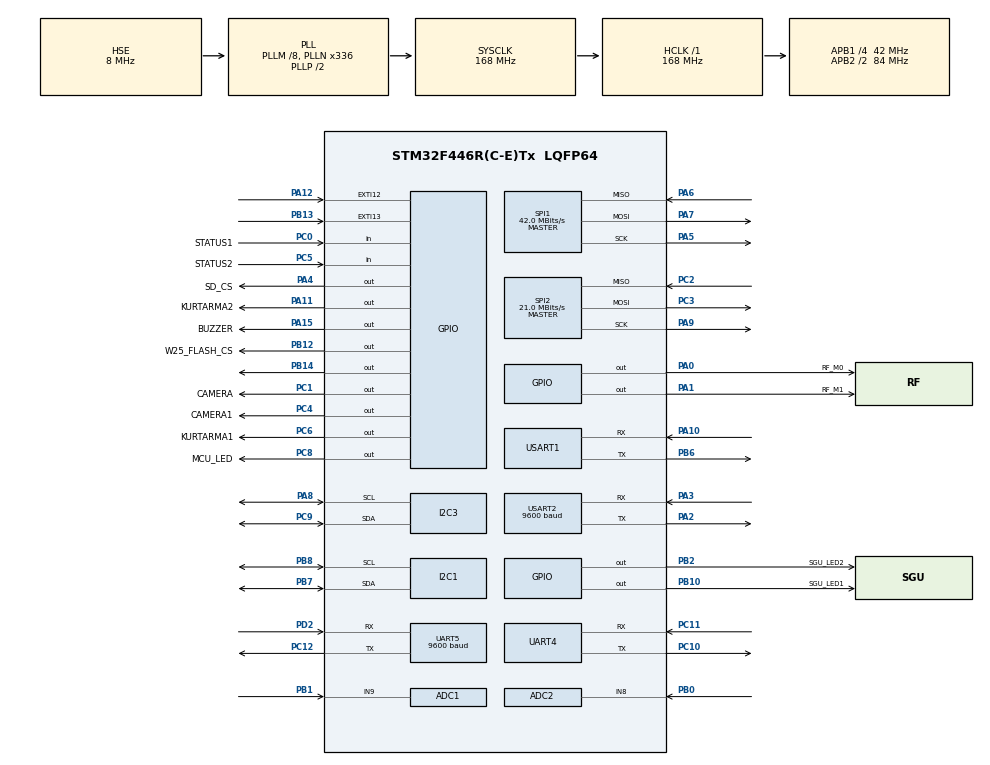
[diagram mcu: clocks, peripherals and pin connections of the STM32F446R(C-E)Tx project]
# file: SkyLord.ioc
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ADC1.Channel-0\#ChannelRegularConversion=ADC_CHANNEL_9
ADC1.ContinuousConvMode=ENABLE
ADC1.DMAContinuousRequests=DISABLE
ADC1.NbrOfConversion=1
ADC1.NbrOfConversionFlag=1
ADC1.Rank-0\#ChannelRegularConversion=1
ADC1.SamplingTime-0\#ChannelRegularConversion=ADC_SAMPLETIME_480CYCLES
ADC1.master=1
ADC2.Channel-1\#ChannelRegularConversion=ADC_CHANNEL_8
ADC2.ContinuousConvMode=ENABLE
ADC2.DMAContinuousRequests=DISABLE
ADC2.NbrOfConversionFlag=1
ADC2.Rank-1\#ChannelRegularConversion=1
ADC2.SamplingTime-1\#ChannelRegularConversion=ADC_SAMPLETIME_480CYCLES
Dma.I2C3_RX.4.Direction=DMA_PERIPH_TO_MEMORY
Dma.I2C3_RX.4.FIFOMode=DMA_FIFOMODE_DISABLE
Dma.I2C3_RX.4.Instance=DMA1_Stream1
Dma.I2C3_RX.4.MemDataAlignment=DMA_MDATAALIGN_BYTE
Dma.I2C3_RX.4.MemInc=DMA_MINC_ENABLE
Dma.I2C3_RX.4.Mode=DMA_NORMAL
Dma.I2C3_RX.4.PeriphDataAlignment=DMA_PDATAALIGN_BYTE
Dma.I2C3_RX.4.PeriphInc=DMA_PINC_DISABLE
Dma.I2C3_RX.4.Priority=DMA_PRIORITY_LOW
Dma.Request0=UART4_RX
Dma.Request1=UART4_TX
Dma.Request2=UART5_RX
Dma.Request3=USART2_TX
Dma.Request4=I2C3_RX
Dma.UART4_RX.0.Direction=DMA_PERIPH_TO_MEMORY
Dma.UART4_RX.0.FIFOMode=DMA_FIFOMODE_DISABLE
Dma.UART4_RX.0.Instance=DMA1_Stream2
Dma.UART4_RX.0.MemDataAlignment=DMA_MDATAALIGN_BYTE
Dma.UART4_RX.0.MemInc=DMA_MINC_ENABLE
Dma.UART4_RX.0.Mode=DMA_NORMAL
Dma.UART4_RX.0.PeriphDataAlignment=DMA_PDATAALIGN_BYTE
Dma.UART4_RX.0.PeriphInc=DMA_PINC_DISABLE
Dma.UART4_RX.0.Priority=DMA_PRIORITY_HIGH
Dma.UART4_TX.1.Direction=DMA_MEMORY_TO_PERIPH
Dma.UART4_TX.1.FIFOMode=DMA_FIFOMODE_DISABLE
Dma.UART4_TX.1.Instance=DMA1_Stream4
Dma.UART4_TX.1.MemDataAlignment=DMA_MDATAALIGN_BYTE
Dma.UART4_TX.1.MemInc=DMA_MINC_ENABLE
Dma.UART4_TX.1.Mode=DMA_NORMAL
Dma.UART4_TX.1.PeriphDataAlignment=DMA_PDATAALIGN_BYTE
Dma.UART4_TX.1.PeriphInc=DMA_PINC_DISABLE
Dma.UART4_TX.1.Priority=DMA_PRIORITY_HIGH
Dma.UART5_RX.2.Direction=DMA_PERIPH_TO_MEMORY
Dma.UART5_RX.2.FIFOMode=DMA_FIFOMODE_DISABLE
Dma.UART5_RX.2.Instance=DMA1_Stream0
Dma.UART5_RX.2.MemDataAlignment=DMA_MDATAALIGN_BYTE
Dma.UART5_RX.2.MemInc=DMA_MINC_ENABLE
Dma.UART5_RX.2.Mode=DMA_CIRCULAR
Dma.UART5_RX.2.PeriphDataAlignment=DMA_PDATAALIGN_BYTE
Dma.UART5_RX.2.PeriphInc=DMA_PINC_DISABLE
Dma.UART5_RX.2.Priority=DMA_PRIORITY_LOW
Dma.USART2_TX.3.Direction=DMA_MEMORY_TO_PERIPH
Dma.USART2_TX.3.FIFOMode=DMA_FIFOMODE_DISABLE
Dma.USART2_TX.3.Instance=DMA1_Stream6
Dma.USART2_TX.3.MemDataAlignment=DMA_MDATAALIGN_BYTE
Dma.USART2_TX.3.MemInc=DMA_MINC_ENABLE
Dma.USART2_TX.3.Mode=DMA_NORMAL
Dma.USART2_TX.3.PeriphDataAlignment=DMA_PDATAALIGN_BYTE
Dma.USART2_TX.3.PeriphInc=DMA_PINC_DISABLE
Dma.USART2_TX.3.Priority=DMA_PRIORITY_LOW
Mcu.Family=STM32F4
Mcu.Name=STM32F446R(C-E)Tx
Mcu.Package=LQFP64
NVIC.DMA1_Stream0_IRQn=true\:0\:0\:false\:false\:true\:false\:true\:true
NVIC.DMA1_Stream1_IRQn=true\:0\:0\:false\:false\:true\:false\:true\:true
NVIC.DMA1_Stream2_IRQn=true\:0\:0\:false\:false\:true\:false\:true\:true
NVIC.DMA1_Stream4_IRQn=true\:0\:0\:false\:false\:true\:false\:true\:true
NVIC.DMA1_Stream6_IRQn=true\:0\:0\:false\:false\:true\:false\:true\:true
NVIC.EXTI15_10_IRQn=true\:0\:0\:false\:false\:true\:true\:true\:true
NVIC.PriorityGroup=NVIC_PRIORITYGROUP_4
NVIC.TIM2_IRQn=true\:0\:0\:false\:false\:true\:true\:true\:true
NVIC.UART4_IRQn=true\:0\:0\:false\:false\:true\:true\:true\:true
NVIC.UART5_IRQn=true\:0\:0\:false\:false\:true\:true\:true\:true
NVIC.USART2_IRQn=true\:0\:0\:false\:false\:true\:true\:true\:true
PA0-WKUP.GPIO_Label=RF_M0
PA0-WKUP.Signal=GPIO_Output
PA1.GPIO_Label=RF_M1
PA1.Signal=GPIO_Output
PA10.Mode=Asynchronous
PA10.Signal=USART1_RX
PA11.GPIO_Label=KURTARMA2
PA11.Signal=GPIO_Output
PA12.Signal=GPXTI12
PA13.Mode=Serial_Wire
PA13.Signal=SYS_JTMS-SWDIO
PA14.Mode=Serial_Wire
PA14.Signal=SYS_JTCK-SWCLK
PA15.GPIO_Label=BUZZER
PA15.Signal=GPIO_Output
PA2.Mode=Asynchronous
PA2.Signal=USART2_TX
PA3.Mode=Asynchronous
PA3.Signal=USART2_RX
PA4.GPIO_Label=SD_CS
PA4.GPIO_Speed=GPIO_SPEED_FREQ_VERY_HIGH
PA4.Signal=GPIO_Output
PA5.Mode=Full_Duplex_Master
PA5.Signal=SPI1_SCK
PA6.Mode=Full_Duplex_Master
PA6.Signal=SPI1_MISO
PA7.Mode=Full_Duplex_Master
PA7.Signal=SPI1_MOSI
PA8.GPIO_Pu=GPIO_PULLUP
PA8.Mode=I2C
PA8.Signal=I2C3_SCL
PA9.Mode=Full_Duplex_Master
PA9.Signal=SPI2_SCK
PB0.Signal=ADCx_IN8
PB1.Signal=ADCx_IN9
PB10.GPIO_Label=SGU_LED1
PB10.Signal=GPIO_Output
PB12.GPIO_Label=W25_FLASH_CS
PB12.GPIO_Speed=GPIO_SPEED_FREQ_VERY_HIGH
PB12.Signal=GPIO_Output
PB13.Signal=GPXTI13
PB14.PinState=GPIO_PIN_SET
PB14.Signal=GPIO_Output
PB2.GPIO_Label=SGU_LED2 
PB2.Signal=GPIO_Output
PB6.Mode=Asynchronous
PB6.Signal=USART1_TX
PB7.GPIO_Pu=GPIO_NOPULL
PB7.Mode=I2C
PB7.Signal=I2C1_SDA
PB8.GPIO_Pu=GPIO_NOPULL
PB8.Mode=I2C
PB8.Signal=I2C1_SCL
PC0.GPIO_Label=STATUS1
PC0.Signal=GPIO_Input
PC1.GPIO_Label=CAMERA
PC1.PinState=GPIO_PIN_SET
PC1.Signal=GPIO_Output
PC10.Mode=Asynchronous
PC10.Signal=UART4_TX
PC11.Mode=Asynchronous
PC11.Signal=UART4_RX
PC12.Mode=Asynchronous
PC12.Signal=UART5_TX
PC14-OSC32_IN.Mode=LSE-External-Oscillator
PC14-OSC32_IN.Signal=RCC_OSC32_IN
PC15-OSC32_OUT.Mode=LSE-External-Oscillator
PC15-OSC32_OUT.Signal=RCC_OSC32_OUT
PC2.Mode=Full_Duplex_Master
PC2.Signal=SPI2_MISO
PC3.Mode=Full_Duplex_Master
PC3.Signal=SPI2_MOSI
PC4.GPIO_Label=CAMERA1
PC4.PinState=GPIO_PIN_SET
PC4.Signal=GPIO_Output
PC5.GPIO_Label=STATUS2
PC5.Signal=GPIO_Input
PC6.GPIO_Label=KURTARMA1
PC6.Signal=GPIO_Output
PC8.GPIO_Label=MCU_LED
PC8.Signal=GPIO_Output
PC9.GPIO_Pu=GPIO_PULLUP
PC9.Mode=I2C
PC9.Signal=I2C3_SDA
PD2.Mode=Asynchronous
PD2.Signal=UART5_RX
PH0-OSC_IN.Mode=HSE-External-Oscillator
PH0-OSC_IN.Signal=RCC_OSC_IN
PH1-OSC_OUT.Mode=HSE-External-Oscillator
PH1-OSC_OUT.Signal=RCC_OSC_OUT
ProjectManager.HeapSize=0x200
ProjectManager.StackSize=0x400
ProjectManager.TargetToolchain=STM32CubeIDE
RCC.AHBFreq_Value=168000000
RCC.APB1CLKDivider=RCC_HCLK_DIV4
RCC.APB1Freq_Value=42000000
RCC.APB1TimFreq_Value=84000000
RCC.APB2CLKDivider=RCC_HCLK_DIV2
RCC.APB2Freq_Value=84000000
RCC.APB2TimFreq_Value=168000000
RCC.CortexFreq_Value=168000000
RCC.HCLKFreq_Value=168000000
RCC.HSE_VALUE=8000000
RCC.PLLM=8
RCC.PLLN=336
RCC.PLLSourceVirtual=RCC_PLLSOURCE_HSE
RCC.RCC_RTC_Clock_SourceVirtual=RCC_RTCCLKSOURCE_LSE
RCC.SYSCLKFreq_VALUE=168000000
RCC.SYSCLKSource=RCC_SYSCLKSOURCE_PLLCLK
RCC.USBFreq_Value=168000000
RCC.VCOOutputFreq_Value=336000000
SH.ADCx_IN8.0=ADC2_IN8,IN8
SH.ADCx_IN9.0=ADC1_IN9,IN9
SPI1.CalculateBaudRate=42.0 MBits/s
SPI1.Direction=SPI_DIRECTION_2LINES
SPI1.Mode=SPI_MODE_MASTER
SPI1.VirtualType=VM_MASTER
SPI2.CalculateBaudRate=21.0 MBits/s
SPI2.Direction=SPI_DIRECTION_2LINES
SPI2.Mode=SPI_MODE_MASTER
SPI2.VirtualType=VM_MASTER
TIM2.Period=999
TIM2.Prescaler=8399
UART4.VirtualMode=Asynchronous
UART5.BaudRate=9600
UART5.VirtualMode=Asynchronous
USART1.VirtualMode=VM_ASYNC
USART2.BaudRate=9600
USART2.VirtualMode=VM_ASYNC
VP_FATFS_VS_Generic.Mode=User_defined
VP_RTC_VS_RTC_Activate.Mode=RTC_Enabled
VP_TIM2_VS_ClockSourceINT.Mode=Internal
board=custom

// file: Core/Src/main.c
/* USER CODE BEGIN Header */
/**
  ******************************************************************************
  * @file           : main.c
  * @brief          : Main program body
  ******************************************************************************
  * @attention
  *
  * Copyright (c) 2025 STMicroelectronics.
  * All rights reserved.
  *
  * This software is licensed under terms that can be found in the LICENSE file
  * in the root directory of this software component.
  * If no LICENSE file comes with this software, it is provided AS-IS.
  *
  ******************************************************************************
  */
/* USER CODE END Header */
#include "main.h"
#include "fatfs.h"

/* USER CODE BEGIN Includes */

/* Standard library includes */
#include <string.h>
#include <stdio.h>
#include <math.h>

/* Sensor drivers */
#include "bme280.h"                    // BME280 barometric pressure sensor
#include "bmi088.h"                    // BMI088 6-axis IMU sensor

/* Algorithm and processing modules */
#include "queternion.h"                // Quaternion math operations
#include "sensor_fusion.h"             // Sensor fusion algorithms (Mahony, Kalman)
#include "flight_algorithm.h"          // Flight state detection and control
#include "reset_detect.h"

/* Communication modules */
#include "uart_handler.h"              // UART command processing
#include "e22_lib.h"                   // LoRa wireless communication
#include "packet.h"                    // Telemetry packet handling
#include "l86_gnss.h"                  // L86 GPS/GNSS module
#include "data_logger.h"

/* Test and diagnostic modules */
#include "test_modes.h"                // System test modes (SIT, SUT)

/* USER CODE END Includes */

/* USER CODE BEGIN PD */

/* Timer configuration */
#define TIMER_PERIOD_MS                10      // Timer interrupt period in milliseconds

/* ADC buffer sizes */
#define ADC_BUFFER_SIZE                1       // Single ADC reading per channel

/* UART buffer sizes */
#define UART_RX_BUFFER_SIZE            36      // UART4 receive buffer size
#define UART_TX_BUFFER_SIZE            128     // General UART transmit buffer size

/* Flight algorithm parameters */
#define FLIGHT_ACCEL_THRESHOLD         40.0f   // Acceleration threshold for launch detection (m/s²)
#define FLIGHT_MAX_ALTITUDE            2000.0f // Maximum expected altitude (m)
#define FLIGHT_MIN_ALTITUDE            500.0f  // Minimum altitude for descent detection (m)
#define FLIGHT_MAX_VELOCITY            60.0f   // Maximum expected velocity (m/s)

/* USER CODE END PD */

/* USER CODE BEGIN PM */

/* Hardware configuration macros */
#define IMU_I2C_HNDLR                  hi2c3   // I2C handler for IMU communication

/* GPIO helper macros */
#define LED_ON                         GPIO_PIN_SET
#define LED_OFF                        GPIO_PIN_RESET
#define LORA_MODE_CONFIG               RESET   // LoRa M0 pin state for configuration mode
#define LORA_MODE_ACTIVE               SET     // LoRa M1 pin state for active mode

/* USER CODE END PM */

ADC_HandleTypeDef hadc1;
ADC_HandleTypeDef hadc2;

I2C_HandleTypeDef hi2c1;
I2C_HandleTypeDef hi2c3;
DMA_HandleTypeDef hdma_i2c3_rx;

RTC_HandleTypeDef hrtc;

SPI_HandleTypeDef hspi1;
SPI_HandleTypeDef hspi2;

TIM_HandleTypeDef htim2;

UART_HandleTypeDef huart4;
UART_HandleTypeDef huart5;
UART_HandleTypeDef huart1;
UART_HandleTypeDef huart2;
DMA_HandleTypeDef hdma_uart4_rx;
DMA_HandleTypeDef hdma_uart4_tx;
DMA_HandleTypeDef hdma_uart5_rx;
DMA_HandleTypeDef hdma_usart2_tx;

/* USER CODE BEGIN PV */

/* Structures */
static BME_280_t BME280_sensor;         // BME280 barometric pressure sensor
bmi088_struct_t BMI_sensor;             // BMI088 IMU sensor (accelerometer + gyroscope)
sensor_fusion_t sensor_output;          // Sensor fusion output data
BME_parameters_t bme_params;             // BME280 calibration parameters
gps_data_t gnss_data;                  // L86 GNSS receiver data
static e22_conf_struct_t lora_1;

RTC_TimeTypeDef sTime;
RTC_DateTypeDef sDate;

/* Communication buffers and structures */
uint8_t usart4_rx_buffer[UART_RX_BUFFER_SIZE];  // UART4 receive buffer
static char uart_buffer[UART_TX_BUFFER_SIZE];   // General purpose UART buffer for formatted strings
extern unsigned char normal_paket[62];  // Normal mode telemetry packet
extern unsigned char sd_paket[64];  // Normal mode telemetry packet

/* ADC buffers for voltage and current measurement */
float current_mA = 0.0f;               // Processed current value in mA
float voltage_V = 0.0f;                // Processed voltage value in V

/* System status flags */
int is_BME_ok = 0;                     // BME280 initialization status
int is_BMI_ok = 0;                     // BMI088 initialization status
int bmi_status_ok = 0;                 // BMI088 operational status
uint32_t lastUpdate = 0;               // Last sensor update timestamp

/* External variables from other modules */
extern uint8_t Gain;                   // Kalman filter gain parameter
extern uint8_t gyroOnlyMode;           // Gyroscope-only mode flag
extern volatile uint8_t tx_timer_flag_w25q;

/* Interrupt and communication flags */
volatile uint8_t usart4_packet_ready = 0;  // UART4 packet received flag
volatile uint16_t usart4_packet_size = 0;  // Size of received UART4 packet
volatile uint8_t tx_timer_flag_100ms = 0;        // Timer-based transmission flag
volatile uint8_t tx_timer_flag_1s = 0;        // Timer-based transmission flag
volatile uint8_t tx_timer_flag_20s = 0;        // Timer-based transmission flag
volatile uint8_t usart4_tx_busy = 0;       // UART4 transmission busy flag
volatile uint8_t usart2_tx_busy = 0;       // UART4 transmission busy flag
/* USER CODE END PV */

void SystemClock_Config(void);
static void MX_GPIO_Init(void);
static void MX_DMA_Init(void);
static void MX_I2C1_Init(void);
static void MX_I2C3_Init(void);
static void MX_TIM2_Init(void);
static void MX_UART5_Init(void);
static void MX_USART1_UART_Init(void);
static void MX_ADC1_Init(void);
static void MX_ADC2_Init(void);
static void MX_UART4_Init(void);
static void MX_USART2_UART_Init(void);
static void MX_SPI1_Init(void);
static void MX_SPI2_Init(void);
static void MX_RTC_Init(void);
/* USER CODE BEGIN PFP */

/* Sensor initialization functions */
static void bme280_begin(void);              // Initialize BME280 barometric sensor
uint8_t bmi_imu_init(void);                  // Initialize BMI088 IMU sensor
void lora_init(void);                 // Initialize LoRa E22 module

/* Utility and debug functions */
void IMU_visual(void);                       // Send IMU data for visualization
void read_ADC(void);                         // Read and display ADC values
void HSD_StatusCheck(void);                  // Check high-speed data status
void uart4_send_packet_dma(uint8_t *data, uint16_t size);  // Send packet via UART4 DMA
void lora_send_packet_dma(uint8_t *data, uint16_t size);

/* USER CODE END PFP */

int main(void)
{

  /* MCU Configuration--------------------------------------------------------*/

  /* Reset of all peripherals, Initializes the Flash interface and the Systick. */
  HAL_Init();

  /* Configure the system clock */
  SystemClock_Config();

  /* Initialize all configured peripherals */
  MX_GPIO_Init();
  MX_DMA_Init();
  MX_I2C1_Init();
  MX_I2C3_Init();
  MX_TIM2_Init();
  MX_UART5_Init();
  MX_USART1_UART_Init();
  MX_ADC1_Init();
  MX_ADC2_Init();
  MX_UART4_Init();
  MX_USART2_UART_Init();
  MX_SPI1_Init();
  MX_FATFS_Init();
  MX_SPI2_Init();
  MX_RTC_Init();
  /* USER CODE BEGIN 2 */
	/* ==== TIMER AND INTERRUPT CONFIGURATION ==== */
	// Configure Timer 2 for periodic operations (10ms interval)
	MX_TIM2_Init();
	HAL_TIM_Base_Start_IT(&htim2);
	HAL_NVIC_SetPriority(TIM2_IRQn, 1, 0);
	HAL_NVIC_EnableIRQ(TIM2_IRQn);

	// Configure external interrupt priorities
	HAL_NVIC_SetPriority(EXTI15_10_IRQn, 0, 1);

	// Enable external interrupts for IMU data ready signals
	HAL_NVIC_EnableIRQ(EXTI15_10_IRQn);

	HAL_PWR_EnableBkUpAccess();
	RCC->AHB1ENR |= RCC_AHB1ENR_BKPSRAMEN;
	HAL_PWR_EnableBkUpReg();

	// Initialize backup SRAM system
	backup_sram_init();

	HAL_RTC_GetTime(&hrtc, &sTime, RTC_FORMAT_BIN);
	HAL_RTC_GetDate(&hrtc, &sDate, RTC_FORMAT_BIN);
	HAL_Delay(5);

	/* ==== RESET DETECTION AND DATA RESTORATION ==== */
	uint8_t reset_occurred = is_reset_occurred(sTime, sDate);

	// Configure and initialize flight algorithm BEFORE restore (so it can be overwritten)
	flight_algorithm_init();

	if (reset_occurred) {

		// Initialize UART handler first (before restoring data)
		uart_handler_init();

		// Initialize BME280 barometric pressure sensor
		bme280_begin();
		// Initialize BMI088 with restored offsets
		bmi_imu_init();
		// Reset occurred - restore critical data from backup SRAM
		restore_critical_data_from_backup_sram(&BME280_sensor, &BMI_sensor);

		// Configure sensors with restored calibration data
		bme280_config();
		bmi088_config(&BMI_sensor);

		// Restore flight algorithm state (will overwrite initialized state)
		restore_flight_data_from_backup_sram();

		save_time(sTime, sDate); // Save current time for next reset detection
		HAL_Delay(10);
		bmi088_update(&BMI_sensor);
		HAL_Delay(10);
		bme280_update();
		HAL_Delay(10);
	} else {
		// Normal startup - perform full calibration
		save_time(sTime, sDate); // Save current time for next reset detection

		// Initialize UART handler
		uart_handler_init();

		/* ==== SENSOR INITIALIZATION ==== */
		// Initialize BME280 sensor (temperature, humidity, pressure)
		bme280_begin();
		HAL_Delay(1000);
		bme280_config();
		bme280_update();
		setBase();

		// Initialize BMI088 IMU (accelerometer and gyroscope)
		bmi_imu_init();
		bmi088_config(&BMI_sensor);
		get_offset(&BMI_sensor);
		getInitialQuaternion(); 	// Get initial quaternion for orientation

	    HAL_GPIO_WritePin(BUZZER_GPIO_Port, BUZZER_Pin, SET);
	    HAL_Delay(300);
	    HAL_GPIO_WritePin(BUZZER_GPIO_Port, BUZZER_Pin, RESET);
		setBase();
		BME280_sensor.altitude =  BME280_sensor.altitude - BME280_sensor.base_altitude;
		// Save static calibration data to backup SRAM (only once at startup)
		save_static_calibration_data(&BME280_sensor, &BMI_sensor);

	}

	/* ==== SENSOR FUSION AND ALGORITHMS ==== */
	// Initialize sensor fusion system
	sensor_fusion_init(BMI_sensor.datas.acc_x);

	/* ==== LORA COMMUNICATION SETUP ==== */
    e22_config_mode(&lora_1);
    HAL_Delay(20);
	lora_init();
    HAL_Delay(20);
	e22_transmit_mode(&lora_1);

	/* ==== UART AND COMMUNICATION SETUP ==== */
	// UART handler already initialized above

	// Start UART4 DMA reception for incoming commands
	HAL_UARTEx_ReceiveToIdle_DMA(&huart4, usart4_rx_buffer, UART_RX_BUFFER_SIZE);

	/* ==== GPS/GNSS INITIALIZATION ==== */
	// Initialize UART5 and DMA for GPS communication
	HAL_UART_Transmit(&huart5, (uint8_t*)"$PMTK251,57600*2C\r\n", 19, 100);
    HAL_UART_DeInit(&huart5);
    huart5.Init.BaudRate = 57600;
    HAL_UART_Init(&huart5);
	HAL_DMA_Init(&hdma_uart5_rx);
	L86_GNSS_Init(&huart5);

	/* ==== DATA LOGGER INITIALIZATION ==== */
	data_logger_init();

	HAL_GPIO_WritePin(CAMERA_GPIO_Port, CAMERA_Pin, SET);
    HAL_Delay(30);
	HAL_GPIO_WritePin(CAMERA1_GPIO_Port, CAMERA1_Pin, SET);
    HAL_Delay(30);

  /* USER CODE END 2 */

  /* Infinite loop */
  while (1)
  {

    /* USER CODE BEGIN 3 */

		/*CONTINUOUS SENSOR UPDATES*/
		bmi088_update(&BMI_sensor);		// Update IMU sensor data (accelerometer + gyroscope) - High frequency sampling

		bme280_update(); 		// Update barometric pressure sensor data for altitude estimation

		uart_handler_process_packets();		// Process incoming UART packets and handle system mode changes

		// Handle command processing and system state transitions
		if (uart_handler_command_ready()) {
			uart_handler_clear_command_flag();

			// Reset flight algorithm state when switching to NORMAL operational mode
			if (uart_handler_get_mode() == MODE_NORMAL) {
				flight_algorithm_reset();
				sensor_fusion_init((-BMI_sensor.datas.acc_x));
			}
		}

		/*PERIODIC OPERATIONS (100ms Timer)*/
		if (tx_timer_flag_100ms) {
			tx_timer_flag_100ms = 0;

			L86_GNSS_Update(&gnss_data);

			// Update current time for reset detection
			HAL_RTC_GetTime(&hrtc, &sTime, RTC_FORMAT_BIN);
			HAL_RTC_GetDate(&hrtc, &sDate, RTC_FORMAT_BIN);

			save_time(sTime, sDate);

			// Check high-speed data acquisition status
			HSD_StatusCheck();

			/*MODE-SPECIFIC OPERATIONS*/
			SystemMode_t current_mode = uart_handler_get_mode();

			switch (current_mode) {
				case MODE_NORMAL:

					read_ADC();

					sensor_fusion_update_kalman(&BME280_sensor, &BMI_sensor, &sensor_output);

					flight_algorithm_update(&BME280_sensor, &BMI_sensor, &sensor_output);

					addDataPacketNormal(&BME280_sensor, &BMI_sensor, &gnss_data, &sensor_output, voltage_V, current_mA);

					addDataPacketSD(&BME280_sensor, &BMI_sensor, &gnss_data, &sensor_output, voltage_V, current_mA);

					HAL_UART_Transmit(&huart1, (uint8_t*)normal_paket, 62, 100);

					log_normal_packet_data(sd_paket, "skylord.bin");

					break;

				case MODE_SIT:
					/* SIT Mode: Tests sensor integration, data flow, and core system operations with real-time hardware */
					test_modes_handle_sit(&BME280_sensor, &BMI_sensor);
					break;

				case MODE_SUT:
					/* SUT Mode: Validates specific algorithm and calibration logic with synthetic flight data (no real-time sensor input) */
					algorithm_update_sut();
					break;

				default:
					/* Unknown mode - Log error or switch to safe mode */
					// TODO: Add error handling for unknown system modes
					break;

			}
		}
		if(tx_timer_flag_1s >= 10){
			tx_timer_flag_1s = 0;
			lora_send_packet_dma((uint8_t*)normal_paket, 62);
			save_flight_data_to_backup_sram();
		}

	}
  /* USER CODE END 3 */
}

void SystemClock_Config(void)
{
  RCC_OscInitTypeDef RCC_OscInitStruct = {0};
  RCC_ClkInitTypeDef RCC_ClkInitStruct = {0};

  /** Configure the main internal regulator output voltage
  */
  __HAL_RCC_PWR_CLK_ENABLE();
  __HAL_PWR_VOLTAGESCALING_CONFIG(PWR_REGULATOR_VOLTAGE_SCALE1);

  /** Initializes the RCC Oscillators according to the specified parameters
  * in the RCC_OscInitTypeDef structure.
  */
  RCC_OscInitStruct.OscillatorType = RCC_OSCILLATORTYPE_HSE|RCC_OSCILLATORTYPE_LSE;
  RCC_OscInitStruct.HSEState = RCC_HSE_ON;
  RCC_OscInitStruct.LSEState = RCC_LSE_ON;
  RCC_OscInitStruct.PLL.PLLState = RCC_PLL_ON;
  RCC_OscInitStruct.PLL.PLLSource = RCC_PLLSOURCE_HSE;
  RCC_OscInitStruct.PLL.PLLM = 8;
  RCC_OscInitStruct.PLL.PLLN = 336;
  RCC_OscInitStruct.PLL.PLLP = RCC_PLLP_DIV2;
  RCC_OscInitStruct.PLL.PLLQ = 2;
  RCC_OscInitStruct.PLL.PLLR = 2;
  if (HAL_RCC_OscConfig(&RCC_OscInitStruct) != HAL_OK)
  {
    Error_Handler();
  }

  /** Initializes the CPU, AHB and APB buses clocks
  */
  RCC_ClkInitStruct.ClockType = RCC_CLOCKTYPE_HCLK|RCC_CLOCKTYPE_SYSCLK
                              |RCC_CLOCKTYPE_PCLK1|RCC_CLOCKTYPE_PCLK2;
  RCC_ClkInitStruct.SYSCLKSource = RCC_SYSCLKSOURCE_PLLCLK;
  RCC_ClkInitStruct.AHBCLKDivider = RCC_SYSCLK_DIV1;
  RCC_ClkInitStruct.APB1CLKDivider = RCC_HCLK_DIV4;
  RCC_ClkInitStruct.APB2CLKDivider = RCC_HCLK_DIV2;

  if (HAL_RCC_ClockConfig(&RCC_ClkInitStruct, FLASH_LATENCY_5) != HAL_OK)
  {
    Error_Handler();
  }
}

static void MX_ADC1_Init(void)
{

  ADC_ChannelConfTypeDef sConfig = {0};

  /** Configure the global features of the ADC (Clock, Resolution, Data Alignment and number of conversion)
  */
  hadc1.Instance = ADC1;
  hadc1.Init.ClockPrescaler = ADC_CLOCK_SYNC_PCLK_DIV4;
  hadc1.Init.Resolution = ADC_RESOLUTION_12B;
  hadc1.Init.ScanConvMode = DISABLE;
  hadc1.Init.ContinuousConvMode = ENABLE;
  hadc1.Init.DiscontinuousConvMode = DISABLE;
  hadc1.Init.ExternalTrigConvEdge = ADC_EXTERNALTRIGCONVEDGE_NONE;
  hadc1.Init.ExternalTrigConv = ADC_SOFTWARE_START;
  hadc1.Init.DataAlign = ADC_DATAALIGN_RIGHT;
  hadc1.Init.NbrOfConversion = 1;
  hadc1.Init.DMAContinuousRequests = DISABLE;
  hadc1.Init.EOCSelection = ADC_EOC_SINGLE_CONV;
  if (HAL_ADC_Init(&hadc1) != HAL_OK)
  {
    Error_Handler();
  }

  /** Configure for the selected ADC regular channel its corresponding rank in the sequencer and its sample time.
  */
  sConfig.Channel = ADC_CHANNEL_9;
  sConfig.Rank = 1;
  sConfig.SamplingTime = ADC_SAMPLETIME_480CYCLES;
  if (HAL_ADC_ConfigChannel(&hadc1, &sConfig) != HAL_OK)
  {
    Error_Handler();
  }

}

static void MX_ADC2_Init(void)
{

  ADC_ChannelConfTypeDef sConfig = {0};

  /** Configure the global features of the ADC (Clock, Resolution, Data Alignment and number of conversion)
  */
  hadc2.Instance = ADC2;
  hadc2.Init.ClockPrescaler = ADC_CLOCK_SYNC_PCLK_DIV4;
  hadc2.Init.Resolution = ADC_RESOLUTION_12B;
  hadc2.Init.ScanConvMode = DISABLE;
  hadc2.Init.ContinuousConvMode = ENABLE;
  hadc2.Init.DiscontinuousConvMode = DISABLE;
  hadc2.Init.ExternalTrigConvEdge = ADC_EXTERNALTRIGCONVEDGE_NONE;
  hadc2.Init.ExternalTrigConv = ADC_SOFTWARE_START;
  hadc2.Init.DataAlign = ADC_DATAALIGN_RIGHT;
  hadc2.Init.NbrOfConversion = 1;
  hadc2.Init.DMAContinuousRequests = DISABLE;
  hadc2.Init.EOCSelection = ADC_EOC_SINGLE_CONV;
  if (HAL_ADC_Init(&hadc2) != HAL_OK)
  {
    Error_Handler();
  }

  /** Configure for the selected ADC regular channel its corresponding rank in the sequencer and its sample time.
  */
  sConfig.Channel = ADC_CHANNEL_8;
  sConfig.Rank = 1;
  sConfig.SamplingTime = ADC_SAMPLETIME_480CYCLES;
  if (HAL_ADC_ConfigChannel(&hadc2, &sConfig) != HAL_OK)
  {
    Error_Handler();
  }

}

static void MX_I2C1_Init(void)
{

  hi2c1.Instance = I2C1;
  hi2c1.Init.ClockSpeed = 100000;
  hi2c1.Init.DutyCycle = I2C_DUTYCYCLE_2;
  hi2c1.Init.OwnAddress1 = 0;
  hi2c1.Init.AddressingMode = I2C_ADDRESSINGMODE_7BIT;
  hi2c1.Init.DualAddressMode = I2C_DUALADDRESS_DISABLE;
  hi2c1.Init.OwnAddress2 = 0;
  hi2c1.Init.GeneralCallMode = I2C_GENERALCALL_DISABLE;
  hi2c1.Init.NoStretchMode = I2C_NOSTRETCH_DISABLE;
  if (HAL_I2C_Init(&hi2c1) != HAL_OK)
  {
    Error_Handler();
  }

}

static void MX_I2C3_Init(void)
{

  hi2c3.Instance = I2C3;
  hi2c3.Init.ClockSpeed = 100000;
  hi2c3.Init.DutyCycle = I2C_DUTYCYCLE_2;
  hi2c3.Init.OwnAddress1 = 0;
  hi2c3.Init.AddressingMode = I2C_ADDRESSINGMODE_7BIT;
  hi2c3.Init.DualAddressMode = I2C_DUALADDRESS_DISABLE;
  hi2c3.Init.OwnAddress2 = 0;
  hi2c3.Init.GeneralCallMode = I2C_GENERALCALL_DISABLE;
  hi2c3.Init.NoStretchMode = I2C_NOSTRETCH_DISABLE;
  if (HAL_I2C_Init(&hi2c3) != HAL_OK)
  {
    Error_Handler();
  }

}

static void MX_RTC_Init(void)
{

  /** Initialize RTC Only
  */
  hrtc.Instance = RTC;
  hrtc.Init.HourFormat = RTC_HOURFORMAT_24;
  hrtc.Init.AsynchPrediv = 127;
  hrtc.Init.SynchPrediv = 255;
  hrtc.Init.OutPut = RTC_OUTPUT_DISABLE;
  hrtc.Init.OutPutPolarity = RTC_OUTPUT_POLARITY_HIGH;
  hrtc.Init.OutPutType = RTC_OUTPUT_TYPE_OPENDRAIN;
  if (HAL_RTC_Init(&hrtc) != HAL_OK)
  {
    Error_Handler();
  }

}

static void MX_SPI1_Init(void)
{

  /* SPI1 parameter configuration*/
  hspi1.Instance = SPI1;
  hspi1.Init.Mode = SPI_MODE_MASTER;
  hspi1.Init.Direction = SPI_DIRECTION_2LINES;
  hspi1.Init.DataSize = SPI_DATASIZE_8BIT;
  hspi1.Init.CLKPolarity = SPI_POLARITY_LOW;
  hspi1.Init.CLKPhase = SPI_PHASE_1EDGE;
  hspi1.Init.NSS = SPI_NSS_SOFT;
  hspi1.Init.BaudRatePrescaler = SPI_BAUDRATEPRESCALER_2;
  hspi1.Init.FirstBit = SPI_FIRSTBIT_MSB;
  hspi1.Init.TIMode = SPI_TIMODE_DISABLE;
  hspi1.Init.CRCCalculation = SPI_CRCCALCULATION_DISABLE;
  hspi1.Init.CRCPolynomial = 10;
  if (HAL_SPI_Init(&hspi1) != HAL_OK)
  {
    Error_Handler();
  }

}

static void MX_SPI2_Init(void)
{

  /* SPI2 parameter configuration*/
  hspi2.Instance = SPI2;
  hspi2.Init.Mode = SPI_MODE_MASTER;
  hspi2.Init.Direction = SPI_DIRECTION_2LINES;
  hspi2.Init.DataSize = SPI_DATASIZE_8BIT;
  hspi2.Init.CLKPolarity = SPI_POLARITY_LOW;
  hspi2.Init.CLKPhase = SPI_PHASE_1EDGE;
  hspi2.Init.NSS = SPI_NSS_SOFT;
  hspi2.Init.BaudRatePrescaler = SPI_BAUDRATEPRESCALER_2;
  hspi2.Init.FirstBit = SPI_FIRSTBIT_MSB;
  hspi2.Init.TIMode = SPI_TIMODE_DISABLE;
  hspi2.Init.CRCCalculation = SPI_CRCCALCULATION_DISABLE;
  hspi2.Init.CRCPolynomial = 10;
  if (HAL_SPI_Init(&hspi2) != HAL_OK)
  {
    Error_Handler();
  }

}

static void MX_TIM2_Init(void)
{

  TIM_ClockConfigTypeDef sClockSourceConfig = {0};
  TIM_MasterConfigTypeDef sMasterConfig = {0};

  htim2.Instance = TIM2;
  htim2.Init.Prescaler = 8399;
  htim2.Init.CounterMode = TIM_COUNTERMODE_UP;
  htim2.Init.Period = 999;
  htim2.Init.ClockDivision = TIM_CLOCKDIVISION_DIV1;
  htim2.Init.AutoReloadPreload = TIM_AUTORELOAD_PRELOAD_DISABLE;
  if (HAL_TIM_Base_Init(&htim2) != HAL_OK)
  {
    Error_Handler();
  }
  sClockSourceConfig.ClockSource = TIM_CLOCKSOURCE_INTERNAL;
  if (HAL_TIM_ConfigClockSource(&htim2, &sClockSourceConfig) != HAL_OK)
  {
    Error_Handler();
  }
  sMasterConfig.MasterOutputTrigger = TIM_TRGO_RESET;
  sMasterConfig.MasterSlaveMode = TIM_MASTERSLAVEMODE_DISABLE;
  if (HAL_TIMEx_MasterConfigSynchronization(&htim2, &sMasterConfig) != HAL_OK)
  {
    Error_Handler();
  }

}

static void MX_UART4_Init(void)
{

  huart4.Instance = UART4;
  huart4.Init.BaudRate = 115200;
  huart4.Init.WordLength = UART_WORDLENGTH_8B;
  huart4.Init.StopBits = UART_STOPBITS_1;
  huart4.Init.Parity = UART_PARITY_NONE;
  huart4.Init.Mode = UART_MODE_TX_RX;
  huart4.Init.HwFlowCtl = UART_HWCONTROL_NONE;
  huart4.Init.OverSampling = UART_OVERSAMPLING_16;
  if (HAL_UART_Init(&huart4) != HAL_OK)
  {
    Error_Handler();
  }

}

static void MX_UART5_Init(void)
{

  huart5.Instance = UART5;
  huart5.Init.BaudRate = 9600;
  huart5.Init.WordLength = UART_WORDLENGTH_8B;
  huart5.Init.StopBits = UART_STOPBITS_1;
  huart5.Init.Parity = UART_PARITY_NONE;
  huart5.Init.Mode = UART_MODE_TX_RX;
  huart5.Init.HwFlowCtl = UART_HWCONTROL_NONE;
  huart5.Init.OverSampling = UART_OVERSAMPLING_16;
  if (HAL_UART_Init(&huart5) != HAL_OK)
  {
    Error_Handler();
  }

}

static void MX_USART1_UART_Init(void)
{

  huart1.Instance = USART1;
  huart1.Init.BaudRate = 115200;
  huart1.Init.WordLength = UART_WORDLENGTH_8B;
  huart1.Init.StopBits = UART_STOPBITS_1;
  huart1.Init.Parity = UART_PARITY_NONE;
  huart1.Init.Mode = UART_MODE_TX_RX;
  huart1.Init.HwFlowCtl = UART_HWCONTROL_NONE;
  huart1.Init.OverSampling = UART_OVERSAMPLING_16;
  if (HAL_UART_Init(&huart1) != HAL_OK)
  {
    Error_Handler();
  }

}

static void MX_USART2_UART_Init(void)
{

  huart2.Instance = USART2;
  huart2.Init.BaudRate = 9600;
  huart2.Init.WordLength = UART_WORDLENGTH_8B;
  huart2.Init.StopBits = UART_STOPBITS_1;
  huart2.Init.Parity = UART_PARITY_NONE;
  huart2.Init.Mode = UART_MODE_TX_RX;
  huart2.Init.HwFlowCtl = UART_HWCONTROL_NONE;
  huart2.Init.OverSampling = UART_OVERSAMPLING_16;
  if (HAL_UART_Init(&huart2) != HAL_OK)
  {
    Error_Handler();
  }

}

static void MX_DMA_Init(void)
{

  /* DMA controller clock enable */
  __HAL_RCC_DMA1_CLK_ENABLE();

  /* DMA interrupt init */
  /* DMA1_Stream0_IRQn interrupt configuration */
  HAL_NVIC_SetPriority(DMA1_Stream0_IRQn, 0, 0);
  HAL_NVIC_EnableIRQ(DMA1_Stream0_IRQn);
  /* DMA1_Stream1_IRQn interrupt configuration */
  HAL_NVIC_SetPriority(DMA1_Stream1_IRQn, 0, 0);
  HAL_NVIC_EnableIRQ(DMA1_Stream1_IRQn);
  /* DMA1_Stream2_IRQn interrupt configuration */
  HAL_NVIC_SetPriority(DMA1_Stream2_IRQn, 0, 0);
  HAL_NVIC_EnableIRQ(DMA1_Stream2_IRQn);
  /* DMA1_Stream4_IRQn interrupt configuration */
  HAL_NVIC_SetPriority(DMA1_Stream4_IRQn, 0, 0);
  HAL_NVIC_EnableIRQ(DMA1_Stream4_IRQn);
  /* DMA1_Stream6_IRQn interrupt configuration */
  HAL_NVIC_SetPriority(DMA1_Stream6_IRQn, 0, 0);
  HAL_NVIC_EnableIRQ(DMA1_Stream6_IRQn);

}

static void MX_GPIO_Init(void)
{
  GPIO_InitTypeDef GPIO_InitStruct = {0};

  /* GPIO Ports Clock Enable */
  __HAL_RCC_GPIOC_CLK_ENABLE();
  __HAL_RCC_GPIOH_CLK_ENABLE();
  __HAL_RCC_GPIOA_CLK_ENABLE();
  __HAL_RCC_GPIOB_CLK_ENABLE();
  __HAL_RCC_GPIOD_CLK_ENABLE();

  /*Configure GPIO pin Output Level */
  HAL_GPIO_WritePin(GPIOC, CAMERA_Pin|CAMERA1_Pin, GPIO_PIN_SET);

  /*Configure GPIO pin Output Level */
  HAL_GPIO_WritePin(GPIOA, RF_M0_Pin|RF_M1_Pin|SD_CS_Pin|KURTARMA2_Pin
                          |BUZZER_Pin, GPIO_PIN_RESET);

  /*Configure GPIO pin Output Level */
  HAL_GPIO_WritePin(GPIOB, SGU_LED2_Pin|SGU_LED1_Pin|W25_FLASH_CS_Pin, GPIO_PIN_RESET);

  /*Configure GPIO pin Output Level */
  HAL_GPIO_WritePin(GPIOB, GPIO_PIN_14, GPIO_PIN_SET);

  /*Configure GPIO pin Output Level */
  HAL_GPIO_WritePin(GPIOC, KURTARMA1_Pin|MCU_LED_Pin, GPIO_PIN_RESET);

  /*Configure GPIO pins : STATUS1_Pin STATUS2_Pin */
  GPIO_InitStruct.Pin = STATUS1_Pin|STATUS2_Pin;
  GPIO_InitStruct.Mode = GPIO_MODE_INPUT;
  GPIO_InitStruct.Pull = GPIO_NOPULL;
  HAL_GPIO_Init(GPIOC, &GPIO_InitStruct);

  /*Configure GPIO pins : CAMERA_Pin CAMERA1_Pin KURTARMA1_Pin MCU_LED_Pin */
  GPIO_InitStruct.Pin = CAMERA_Pin|CAMERA1_Pin|KURTARMA1_Pin|MCU_LED_Pin;
  GPIO_InitStruct.Mode = GPIO_MODE_OUTPUT_PP;
  GPIO_InitStruct.Pull = GPIO_NOPULL;
  GPIO_InitStruct.Speed = GPIO_SPEED_FREQ_LOW;
  HAL_GPIO_Init(GPIOC, &GPIO_InitStruct);

  /*Configure GPIO pins : RF_M0_Pin RF_M1_Pin KURTARMA2_Pin BUZZER_Pin */
  GPIO_InitStruct.Pin = RF_M0_Pin|RF_M1_Pin|KURTARMA2_Pin|BUZZER_Pin;
  GPIO_InitStruct.Mode = GPIO_MODE_OUTPUT_PP;
  GPIO_InitStruct.Pull = GPIO_NOPULL;
  GPIO_InitStruct.Speed = GPIO_SPEED_FREQ_LOW;
  HAL_GPIO_Init(GPIOA, &GPIO_InitStruct);

  /*Configure GPIO pin : SD_CS_Pin */
  GPIO_InitStruct.Pin = SD_CS_Pin;
  GPIO_InitStruct.Mode = GPIO_MODE_OUTPUT_PP;
  GPIO_InitStruct.Pull = GPIO_NOPULL;
  GPIO_InitStruct.Speed = GPIO_SPEED_FREQ_VERY_HIGH;
  HAL_GPIO_Init(SD_CS_GPIO_Port, &GPIO_InitStruct);

  /*Configure GPIO pins : SGU_LED2_Pin SGU_LED1_Pin PB14 */
  GPIO_InitStruct.Pin = SGU_LED2_Pin|SGU_LED1_Pin|GPIO_PIN_14;
  GPIO_InitStruct.Mode = GPIO_MODE_OUTPUT_PP;
  GPIO_InitStruct.Pull = GPIO_NOPULL;
  GPIO_InitStruct.Speed = GPIO_SPEED_FREQ_LOW;
  HAL_GPIO_Init(GPIOB, &GPIO_InitStruct);

  /*Configure GPIO pin : W25_FLASH_CS_Pin */
  GPIO_InitStruct.Pin = W25_FLASH_CS_Pin;
  GPIO_InitStruct.Mode = GPIO_MODE_OUTPUT_PP;
  GPIO_InitStruct.Pull = GPIO_NOPULL;
  GPIO_InitStruct.Speed = GPIO_SPEED_FREQ_VERY_HIGH;
  HAL_GPIO_Init(W25_FLASH_CS_GPIO_Port, &GPIO_InitStruct);

  /*Configure GPIO pin : PB13 */
  GPIO_InitStruct.Pin = GPIO_PIN_13;
  GPIO_InitStruct.Mode = GPIO_MODE_IT_RISING;
  GPIO_InitStruct.Pull = GPIO_NOPULL;
  HAL_GPIO_Init(GPIOB, &GPIO_InitStruct);

  /*Configure GPIO pin : PA12 */
  GPIO_InitStruct.Pin = GPIO_PIN_12;
  GPIO_InitStruct.Mode = GPIO_MODE_IT_RISING;
  GPIO_InitStruct.Pull = GPIO_NOPULL;
  HAL_GPIO_Init(GPIOA, &GPIO_InitStruct);

  /* EXTI interrupt init*/
  HAL_NVIC_SetPriority(EXTI15_10_IRQn, 0, 0);
  HAL_NVIC_EnableIRQ(EXTI15_10_IRQn);

/* USER CODE BEGIN MX_GPIO_Init_2 */
  HAL_GPIO_WritePin(GPIOB, GPIO_PIN_14, GPIO_PIN_RESET);
  HAL_Delay(50);
  HAL_GPIO_WritePin(GPIOB, GPIO_PIN_14, GPIO_PIN_SET);
  HAL_Delay(50);
/* USER CODE END MX_GPIO_Init_2 */
}

/* USER CODE BEGIN 4 */

/**
 * @brief Initialize BME280 barometric pressure sensor
 * @note Configures BME280 with optimal settings for flight applications
 */
void bme280_begin()
{
	BME280_sensor.device_config.bme280_filter = BME280_FILTER_8;
	BME280_sensor.device_config.bme280_mode = BME280_MODE_NORMAL;
	BME280_sensor.device_config.bme280_output_speed = BME280_OS_8;
	BME280_sensor.device_config.bme280_standby_time = BME280_STBY_20;
	bme280_init(&BME280_sensor, &hi2c1);
}

/**
 * @brief Initialize BMI088 IMU sensor (accelerometer + gyroscope)
 * @return Initialization status (0 = success, non-zero = error)
 * @note Configures both accelerometer and gyroscope with appropriate ranges and data rates
 */
uint8_t bmi_imu_init(void)
{
	// Accelerometer configuration
	BMI_sensor.device_config.acc_bandwith = ACC_BWP_OSR4;
	BMI_sensor.device_config.acc_outputDateRate = ACC_ODR_200;
	BMI_sensor.device_config.acc_powerMode = ACC_PWR_SAVE_ACTIVE;
	BMI_sensor.device_config.acc_range = ACC_RANGE_24G;

	// Gyroscope configuration
	BMI_sensor.device_config.gyro_bandWidth = GYRO_BW_116;
	BMI_sensor.device_config.gyro_range = GYRO_RANGE_2000;
	BMI_sensor.device_config.gyro_powerMode = GYRO_LPM_NORMAL;

	// Interrupt and communication configuration
	BMI_sensor.device_config.acc_IRQ = EXTI15_10_IRQn;
	BMI_sensor.device_config.gyro_IRQ = EXTI15_10_IRQn;
	BMI_sensor.device_config.BMI_I2c = &IMU_I2C_HNDLR;
	BMI_sensor.device_config.offsets = NULL;	// Offset data stored in backup SRAM for saving them from unwanted reset

	return bmi088_init(&BMI_sensor);
}

/**
 * @brief Initialize LoRa E22 module
 * @note Configures LoRa module for telemetry transmission
 */
void lora_init(void)
{
	lora_1.baud_rate 		= 	E22_BAUD_RATE_115200;
	lora_1.parity_bit		=	E22_PARITY_8N1;
	lora_1.air_rate			=	E22_AIR_DATA_RATE_38400;
	lora_1.packet_size		=	E22_PACKET_SIZE_64;
	lora_1.rssi_noise		=	E22_RSSI_NOISE_DISABLE;
	lora_1.power			=	E22_TRANSMITTING_POWER_22;
	lora_1.rssi_enable		=	E22_ENABLE_RSSI_DISABLE;
	lora_1.mode				= 	E22_TRANSMISSION_MODE_TRANSPARENT;
	lora_1.repeater_func	=	E22_REPEATER_FUNC_DISABLE;
	lora_1.lbt				=	E22_LBT_DISABLE;
	lora_1.wor				=	E22_WOR_RECEIVER;
	lora_1.wor_cycle		=	E22_WOR_CYCLE_1000;
	lora_1.channel			=	23;

	e22_init(&lora_1, &huart2);

	HAL_UART_DeInit(&huart2);
	HAL_Delay(20);
	huart2.Init.BaudRate = 115200;
	HAL_Delay(20);
	HAL_UART_Init(&huart2);

}

/**
 * @brief GPIO external interrupt callback
 * @param GPIO_Pin Pin number that triggered the interrupt
 * @note Handles IMU data ready interrupts
 */
void HAL_GPIO_EXTI_Callback(uint16_t GPIO_Pin)
{
	if (GPIO_Pin == GPIO_PIN_12) {
		bmi088_set_accel_INT(&BMI_sensor);
	}
	if (GPIO_Pin == GPIO_PIN_13) {
		bmi088_set_gyro_INT(&BMI_sensor);
	}
}

/**
 * @brief UART receive event callback
 * @param huart UART handle
 * @param Size Number of bytes received
 * @note Handles UART4 packet reception with DMA
 */
void HAL_UARTEx_RxEventCallback(UART_HandleTypeDef *huart, uint16_t Size)
{
	if (huart->Instance == UART4) {
		usart4_packet_ready = 1;
		usart4_packet_size = Size;
		// Restart RX DMA for next packet
		HAL_UARTEx_ReceiveToIdle_DMA(&huart4, usart4_rx_buffer, sizeof(usart4_rx_buffer));
		__HAL_DMA_DISABLE_IT(huart4.hdmarx, DMA_IT_HT); // Disable half-transfer interrupt
	}
}

/**
 * @brief Timer period elapsed callback
 * @param htim Timer handle
 * @note Triggers periodic telemetry transmission (10ms interval)
 */
void HAL_TIM_PeriodElapsedCallback(TIM_HandleTypeDef *htim)
{
	if (htim->Instance == TIM2) {
	    tx_timer_flag_100ms = 1;   // 100ms flag
	    tx_timer_flag_1s++;      // 1s flag (counts to 10)
	    tx_timer_flag_20s++;
	}
}

/**
 * @brief UART transmission complete callback
 * @param huart UART handle
 * @note Clears transmission busy flag
 */
void HAL_UART_TxCpltCallback(UART_HandleTypeDef *huart)
{
	if (huart->Instance == UART4) {
		usart4_tx_busy = 0;
	}
	if (huart->Instance == USART2) {
		usart2_tx_busy = 0;
	}
}

/**
 * @brief Send packet via UART4 using DMA
 * @param data Pointer to data buffer
 * @param size Size of data to send
 * @note Non-blocking transmission using DMA
 */
void uart4_send_packet_dma(uint8_t *data, uint16_t size)
{
	if (!usart4_tx_busy) {
		usart4_tx_busy = 1;
		HAL_UART_Transmit_DMA(&huart4, data, size);
	}
}

/**
 * @brief Send packet with LORA using DMA
 * @param data Pointer to data buffer
 * @param size Size of data to send
 * @note Non-blocking transmission using DMA
 */
void lora_send_packet_dma(uint8_t *data, uint16_t size)
{
	if (!usart2_tx_busy) {
		usart2_tx_busy = 1;
		HAL_UART_Transmit_DMA(&huart2, data, size);
	}
}

/**
 * @brief Send IMU visualization data via UART
 * @note Transmits Euler angles and system parameters for visualization
 */
void IMU_visual()
{
	float yaw = BMI_sensor.datas.angle_y;
	float pitch = BMI_sensor.datas.angle_z;
	float roll = BMI_sensor.datas.angle_x;
	float yaw1 = BMI_sensor.datas.yaw1;
	float pitch1 = BMI_sensor.datas.pitch1;
	float roll1 = BMI_sensor.datas.roll1;

	sprintf(uart_buffer, "A1 %.2f %.2f %.2f\r", yaw, pitch, roll);
	HAL_UART_Transmit(&huart1, (uint8_t*)uart_buffer, strlen(uart_buffer), 100);

	sprintf(uart_buffer, "A2 %.2f %.2f %.2f\r\n", yaw1, pitch1, roll1);
	HAL_UART_Transmit(&huart1, (uint8_t*)uart_buffer, strlen(uart_buffer), 100);

	sprintf(uart_buffer, "G %d\r", Gain);
	HAL_UART_Transmit(&huart1, (uint8_t*)uart_buffer, strlen(uart_buffer), 100);

	sprintf(uart_buffer, "M %d\r", gyroOnlyMode);
	HAL_UART_Transmit(&huart1, (uint8_t*)uart_buffer, strlen(uart_buffer), 100);
}

/**
 * @brief Read ADC values for voltage and current monitoring (optimized)
 * @note Fast polling mode - reads both ADC1 and ADC2 efficiently
 */
void read_ADC()
{
    static uint16_t adc1_raw = 0;  // ADC1 değeri (Channel 9)
    static uint16_t adc2_raw = 0;  // ADC2 değeri (Channel 8)

    // ADC1 okuma
    HAL_ADC_Start(&hadc1);
    if (HAL_ADC_PollForConversion(&hadc1, 5) == HAL_OK) {
        adc1_raw = HAL_ADC_GetValue(&hadc1);
    }
    HAL_ADC_Stop(&hadc1);

    // ADC2 okuma
    HAL_ADC_Start(&hadc2);
    if (HAL_ADC_PollForConversion(&hadc2, 5) == HAL_OK) {
        adc2_raw = HAL_ADC_GetValue(&hadc2);
    }
    HAL_ADC_Stop(&hadc2);

    // Kalibrasyonlu değerleri hesapla
    voltage_V = (adc1_raw * 13.2f) / 4096.0f;  // 3.3V referans, 12-bit ADC
    current_mA = (adc2_raw * 3.3f) / 4096.0f; // Gerekirse akım sensörüne göre kalibre edin

	if(voltage_V < 7.0){
		e22_sleep_mode(&lora_1);

	}else if(voltage_V >= 7.0){
		e22_transmit_mode(&lora_1);
	}
}

/**
 * @brief Check High Speed Data (HSD) status and control status LEDs
 * @note Monitors STATUS1 and STATUS2 pins and controls corresponding LEDs
 */
void HSD_StatusCheck()
{
	// Check STATUS1 pin (PC0) and control LED1
	GPIO_PinState pc0_state = HAL_GPIO_ReadPin(STATUS1_GPIO_Port, STATUS1_Pin);
	if (pc0_state == GPIO_PIN_RESET) {
		HAL_GPIO_WritePin(SGU_LED1_GPIO_Port, SGU_LED1_Pin, LED_ON);
	} else {
		HAL_GPIO_WritePin(SGU_LED1_GPIO_Port, SGU_LED1_Pin, LED_OFF);
	}

	// Check STATUS2 pin (PC5) and control LED2
	GPIO_PinState pc5_state = HAL_GPIO_ReadPin(GPIOC, GPIO_PIN_5);
	if (pc5_state == GPIO_PIN_RESET) {
		HAL_GPIO_WritePin(SGU_LED2_GPIO_Port, SGU_LED2_Pin, LED_ON);
	} else {
		HAL_GPIO_WritePin(SGU_LED2_GPIO_Port, SGU_LED2_Pin, LED_OFF);
	}
}

/**
 * @brief I2C Memory read complete callback (DMA)
 * @param hi2c I2C handle
 * @note Handles BMI088 sensor data DMA transfer completion
 */
void HAL_I2C_MemRxCpltCallback(I2C_HandleTypeDef *hi2c)
{
    if (hi2c->Instance == I2C3) {
        if (hi2c->Devaddress == ACC_I2C_ADD) {
            // Accelerometer data received (9 bytes: XYZ + sensor time)
            bmi088_accel_dma_complete_callback(&BMI_sensor);
        }
        else if (hi2c->Devaddress == GYRO_I2C_ADD) {
            // Gyroscope data received (6 bytes: XYZ)
            bmi088_gyro_dma_complete_callback(&BMI_sensor);
        }
    }
}
/* USER CODE END 4 */

void Error_Handler(void)
{
  __disable_irq();
  while (1)
  {
  }
}
